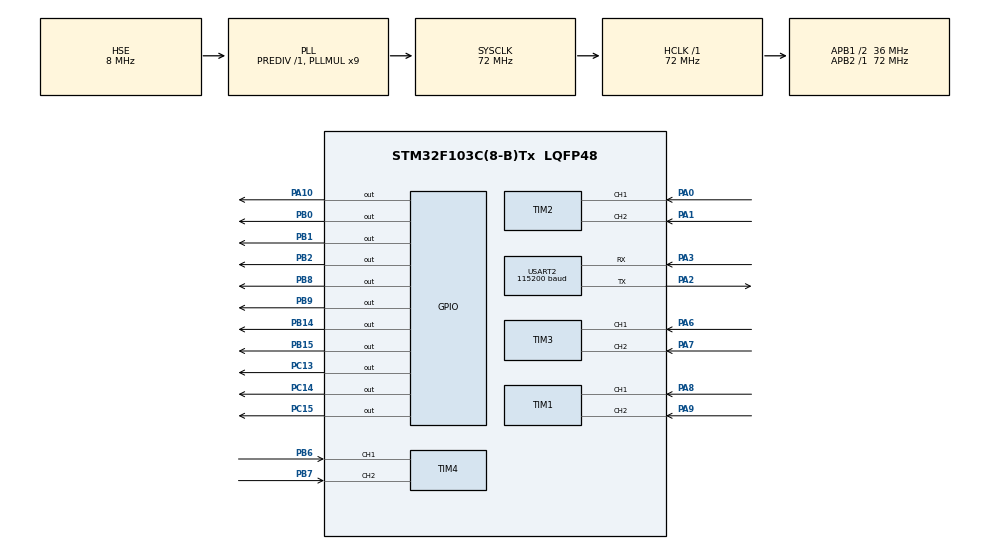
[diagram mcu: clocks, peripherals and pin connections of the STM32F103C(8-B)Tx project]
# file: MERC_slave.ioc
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Dma.Request0=USART2_RX
Dma.USART2_RX.0.Direction=DMA_PERIPH_TO_MEMORY
Dma.USART2_RX.0.Instance=DMA1_Channel6
Dma.USART2_RX.0.MemDataAlignment=DMA_MDATAALIGN_BYTE
Dma.USART2_RX.0.MemInc=DMA_MINC_ENABLE
Dma.USART2_RX.0.Mode=DMA_NORMAL
Dma.USART2_RX.0.PeriphDataAlignment=DMA_PDATAALIGN_BYTE
Dma.USART2_RX.0.PeriphInc=DMA_PINC_DISABLE
Dma.USART2_RX.0.Priority=DMA_PRIORITY_LOW
IWDG.Reload=149
Mcu.Family=STM32F1
Mcu.Name=STM32F103C(8-B)Tx
Mcu.Package=LQFP48
NVIC.DMA1_Channel6_IRQn=true\:0\:0\:false\:false\:true\:false\:true
NVIC.PriorityGroup=NVIC_PRIORITYGROUP_4
NVIC.USART2_IRQn=true\:0\:0\:false\:false\:true\:true\:true
PA0-WKUP.Signal=S_TIM2_CH1_ETR
PA1.Signal=S_TIM2_CH2
PA10.Signal=GPIO_Output
PA13.Mode=Serial_Wire
PA13.Signal=SYS_JTMS-SWDIO
PA14.Mode=Serial_Wire
PA14.Signal=SYS_JTCK-SWCLK
PA2.Mode=Asynchronous
PA2.Signal=USART2_TX
PA3.Mode=Asynchronous
PA3.Signal=USART2_RX
PA6.Signal=S_TIM3_CH1
PA7.Signal=S_TIM3_CH2
PA8.Signal=S_TIM1_CH1
PA9.Signal=S_TIM1_CH2
PB0.Signal=GPIO_Output
PB1.Signal=GPIO_Output
PB14.Signal=GPIO_Output
PB15.Signal=GPIO_Output
PB2.Signal=GPIO_Output
PB6.Signal=S_TIM4_CH1
PB7.Signal=S_TIM4_CH2
PB8.Signal=GPIO_Output
PB9.Signal=GPIO_Output
PC13-TAMPER-RTC.Signal=GPIO_Output
PC14-OSC32_IN.Signal=GPIO_Output
PC15-OSC32_OUT.Signal=GPIO_Output
PD0-OSC_IN.Mode=HSE-External-Oscillator
PD0-OSC_IN.Signal=RCC_OSC_IN
PD1-OSC_OUT.Mode=HSE-External-Oscillator
PD1-OSC_OUT.Signal=RCC_OSC_OUT
ProjectManager.HeapSize=0x200
ProjectManager.StackSize=0x400
ProjectManager.TargetToolchain=STM32CubeIDE
RCC.AHBFreq_Value=72000000
RCC.APB1CLKDivider=RCC_HCLK_DIV2
RCC.APB1Freq_Value=36000000
RCC.APB1TimFreq_Value=72000000
RCC.APB2Freq_Value=72000000
RCC.APB2TimFreq_Value=72000000
RCC.HCLKFreq_Value=72000000
RCC.PLLMUL=RCC_PLL_MUL9
RCC.PLLSourceVirtual=RCC_PLLSOURCE_HSE
RCC.SYSCLKFreq_VALUE=72000000
RCC.SYSCLKSource=RCC_SYSCLKSOURCE_PLLCLK
RCC.USBFreq_Value=72000000
SH.S_TIM1_CH1.0=TIM1_CH1,Encoder_Interface
SH.S_TIM1_CH2.0=TIM1_CH2,Encoder_Interface
SH.S_TIM2_CH1_ETR.0=TIM2_CH1,Encoder_Interface
SH.S_TIM2_CH2.0=TIM2_CH2,Encoder_Interface
SH.S_TIM3_CH1.0=TIM3_CH1,Encoder_Interface
SH.S_TIM3_CH2.0=TIM3_CH2,Encoder_Interface
SH.S_TIM4_CH1.0=TIM4_CH1,Encoder_Interface
SH.S_TIM4_CH2.0=TIM4_CH2,Encoder_Interface
USART2.BaudRate=115200
USART2.VirtualMode=VM_ASYNC
VP_IWDG_VS_IWDG.Mode=IWDG_Activate
board=custom

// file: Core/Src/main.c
/* USER CODE BEGIN Header */
/**
  ******************************************************************************
  * @file           : main.c
  * @brief          : Main program body
  ******************************************************************************
  * @attention
  *
  * <h2><center>&copy; Copyright (c) 2024 STMicroelectronics.
  * All rights reserved.</center></h2>
  *
  * This software component is licensed by ST under BSD 3-Clause license,
  * the "License"; You may not use this file except in compliance with the
  * License. You may obtain a copy of the License at:
  *                        opensource.org/licenses/BSD-3-Clause
  *
  ******************************************************************************
  */
/* USER CODE END Header */
#include "main.h"

/* USER CODE BEGIN PM */
#define RX_CTRL_SIZE 2
#define TX_SPEED_SIZE 10

/* USER CODE END PM */

IWDG_HandleTypeDef hiwdg;

TIM_HandleTypeDef htim1;
TIM_HandleTypeDef htim2;
TIM_HandleTypeDef htim3;
TIM_HandleTypeDef htim4;

UART_HandleTypeDef huart2;
DMA_HandleTypeDef hdma_usart2_rx;

/* USER CODE BEGIN PV */

int16_t speed_1 = 0;
int16_t speed_2 = 0;
int16_t speed_3 = 0;
int16_t speed_4 = 0;

uint8_t txSpeedBuffer[TX_SPEED_SIZE] = {0};
uint8_t rxCtrlBuffer[RX_CTRL_SIZE] = {0};

extern uint8_t dir_1;
extern uint8_t dir_2;

speedStruct speedBuffer;

uint8_t indexBufferSlave = 0;
/* USER CODE END PV */

void SystemClock_Config(void);
static void MX_GPIO_Init(void);
static void MX_DMA_Init(void);
static void MX_TIM1_Init(void);
static void MX_TIM2_Init(void);
static void MX_TIM3_Init(void);
static void MX_TIM4_Init(void);
static void MX_USART2_UART_Init(void);
static void MX_IWDG_Init(void);
/* USER CODE BEGIN PFP */

void prepareBuffer(uint8_t* speedBuffer, uint8_t* txSpeedBuffer){
	*txSpeedBuffer = 0x55;
	txSpeedBuffer++;
	for(int i = 0; i < 8; i++){
		*txSpeedBuffer = *speedBuffer;
		txSpeedBuffer++;
		speedBuffer++;
	}
	*txSpeedBuffer = 0xAA;
}

void HAL_UARTEx_RxEventCallback(UART_HandleTypeDef *huart, uint16_t Size)
{
     HAL_UARTEx_ReceiveToIdle_DMA(&huart2, rxCtrlBuffer, RX_CTRL_SIZE);
     __HAL_DMA_DISABLE_IT(&hdma_usart2_rx, DMA_IT_HT);
     if(rxCtrlBuffer[0]==0xFF){
    	 ctrl_DirMotor(rxCtrlBuffer[1]);
    	 HAL_GPIO_WritePin(GPIOA, GPIO_PIN_10, SET); 		// set flag connected rx
    	 HAL_IWDG_Refresh(&hiwdg);
     }
     else{
    	 HAL_GPIO_WritePin(GPIOA, GPIO_PIN_10, RESET);		// clear flag connected rx
     }
}

/* USER CODE END PFP */

/* USER CODE BEGIN 0 */

int16_t read_Speed(TIM_HandleTypeDef *htim){
	static uint16_t preCnt_1 = 0;
	static uint16_t preCnt_2 = 0;
	static uint16_t preCnt_3 = 0;
	static uint16_t preCnt_4 = 0;
	int16_t speed = 0;

	if(htim->Instance == htim1.Instance){
		uint16_t cnt_1 = __HAL_TIM_GET_COUNTER(&htim1);
		speed = (cnt_1 - preCnt_1)*4.2;
		preCnt_1 = cnt_1;
		return speed;
	}
	else if(htim->Instance == htim2.Instance){
		uint16_t cnt_2 = __HAL_TIM_GET_COUNTER(&htim2);
		speed = (cnt_2 - preCnt_2)*4.2;
		preCnt_2 = cnt_2;
		return speed;
	}
	else if(htim->Instance == htim3.Instance){
		uint16_t cnt_3 = __HAL_TIM_GET_COUNTER(&htim3);
		speed = (cnt_3 - preCnt_3)*4.2;
		preCnt_3 = cnt_3;
		return speed;
	}
	else if(htim->Instance == htim4.Instance){
		uint16_t cnt_4 = __HAL_TIM_GET_COUNTER(&htim4);
		speed = (cnt_4 - preCnt_4)*4.2;
		preCnt_4 = cnt_4;
		return speed;
	}
}

/* USER CODE END 0 */

int main(void)
{

  /* MCU Configuration--------------------------------------------------------*/

  /* Reset of all peripherals, Initializes the Flash interface and the Systick. */
  HAL_Init();

  /* Configure the system clock */
  SystemClock_Config();

  /* Initialize all configured peripherals */
  MX_GPIO_Init();
  MX_DMA_Init();
  MX_TIM1_Init();
  MX_TIM2_Init();
  MX_TIM3_Init();
  MX_TIM4_Init();
  MX_USART2_UART_Init();
  MX_IWDG_Init();
  /* USER CODE BEGIN 2 */
  HAL_UARTEx_ReceiveToIdle_DMA(&huart2, rxCtrlBuffer, RX_CTRL_SIZE);
  __HAL_DMA_DISABLE_IT(&hdma_usart2_rx, DMA_IT_HT);

  HAL_TIM_Encoder_Start(&htim1, TIM_CHANNEL_1|TIM_CHANNEL_2);
  HAL_TIM_Encoder_Start(&htim2, TIM_CHANNEL_1|TIM_CHANNEL_2);
  HAL_TIM_Encoder_Start(&htim3, TIM_CHANNEL_1|TIM_CHANNEL_2);
  HAL_TIM_Encoder_Start(&htim4, TIM_CHANNEL_1|TIM_CHANNEL_2);

  /* USER CODE END 2 */

  /* Infinite loop */
  while (1)
  {

    /* USER CODE BEGIN 3 */
	  speedBuffer.speed_1 = read_Speed(&htim1);
	  speedBuffer.speed_2 = read_Speed(&htim2);
	  speedBuffer.speed_3 = read_Speed(&htim3);
	  speedBuffer.speed_4 = read_Speed(&htim4);
	  HAL_Delay(10);

	  prepareBuffer(&speedBuffer, &txSpeedBuffer);

	  if (HAL_UART_Transmit(&huart2, txSpeedBuffer, TX_SPEED_SIZE, 10) != HAL_OK)
	  {
		  HAL_GPIO_WritePin(GPIOC, GPIO_PIN_13, RESET);
	  }
  }
  /* USER CODE END 3 */
}

void SystemClock_Config(void)
{
  RCC_OscInitTypeDef RCC_OscInitStruct = {0};
  RCC_ClkInitTypeDef RCC_ClkInitStruct = {0};

  /** Initializes the RCC Oscillators according to the specified parameters
  * in the RCC_OscInitTypeDef structure.
  */
  RCC_OscInitStruct.OscillatorType = RCC_OSCILLATORTYPE_LSI|RCC_OSCILLATORTYPE_HSE;
  RCC_OscInitStruct.HSEState = RCC_HSE_ON;
  RCC_OscInitStruct.HSEPredivValue = RCC_HSE_PREDIV_DIV1;
  RCC_OscInitStruct.HSIState = RCC_HSI_ON;
  RCC_OscInitStruct.LSIState = RCC_LSI_ON;
  RCC_OscInitStruct.PLL.PLLState = RCC_PLL_ON;
  RCC_OscInitStruct.PLL.PLLSource = RCC_PLLSOURCE_HSE;
  RCC_OscInitStruct.PLL.PLLMUL = RCC_PLL_MUL9;
  if (HAL_RCC_OscConfig(&RCC_OscInitStruct) != HAL_OK)
  {
    Error_Handler();
  }
  /** Initializes the CPU, AHB and APB buses clocks
  */
  RCC_ClkInitStruct.ClockType = RCC_CLOCKTYPE_HCLK|RCC_CLOCKTYPE_SYSCLK
                              |RCC_CLOCKTYPE_PCLK1|RCC_CLOCKTYPE_PCLK2;
  RCC_ClkInitStruct.SYSCLKSource = RCC_SYSCLKSOURCE_PLLCLK;
  RCC_ClkInitStruct.AHBCLKDivider = RCC_SYSCLK_DIV1;
  RCC_ClkInitStruct.APB1CLKDivider = RCC_HCLK_DIV2;
  RCC_ClkInitStruct.APB2CLKDivider = RCC_HCLK_DIV1;

  if (HAL_RCC_ClockConfig(&RCC_ClkInitStruct, FLASH_LATENCY_2) != HAL_OK)
  {
    Error_Handler();
  }
}

static void MX_IWDG_Init(void)
{

  hiwdg.Instance = IWDG;
  hiwdg.Init.Prescaler = IWDG_PRESCALER_4;
  hiwdg.Init.Reload = 149;
  if (HAL_IWDG_Init(&hiwdg) != HAL_OK)
  {
    Error_Handler();
  }

}

static void MX_TIM1_Init(void)
{

  TIM_Encoder_InitTypeDef sConfig = {0};
  TIM_MasterConfigTypeDef sMasterConfig = {0};

  htim1.Instance = TIM1;
  htim1.Init.Prescaler = 0;
  htim1.Init.CounterMode = TIM_COUNTERMODE_UP;
  htim1.Init.Period = 65535;
  htim1.Init.ClockDivision = TIM_CLOCKDIVISION_DIV1;
  htim1.Init.RepetitionCounter = 0;
  htim1.Init.AutoReloadPreload = TIM_AUTORELOAD_PRELOAD_DISABLE;
  sConfig.EncoderMode = TIM_ENCODERMODE_TI1;
  sConfig.IC1Polarity = TIM_ICPOLARITY_RISING;
  sConfig.IC1Selection = TIM_ICSELECTION_DIRECTTI;
  sConfig.IC1Prescaler = TIM_ICPSC_DIV1;
  sConfig.IC1Filter = 0;
  sConfig.IC2Polarity = TIM_ICPOLARITY_RISING;
  sConfig.IC2Selection = TIM_ICSELECTION_DIRECTTI;
  sConfig.IC2Prescaler = TIM_ICPSC_DIV1;
  sConfig.IC2Filter = 0;
  if (HAL_TIM_Encoder_Init(&htim1, &sConfig) != HAL_OK)
  {
    Error_Handler();
  }
  sMasterConfig.MasterOutputTrigger = TIM_TRGO_RESET;
  sMasterConfig.MasterSlaveMode = TIM_MASTERSLAVEMODE_DISABLE;
  if (HAL_TIMEx_MasterConfigSynchronization(&htim1, &sMasterConfig) != HAL_OK)
  {
    Error_Handler();
  }

}

static void MX_TIM2_Init(void)
{

  TIM_Encoder_InitTypeDef sConfig = {0};
  TIM_MasterConfigTypeDef sMasterConfig = {0};

  htim2.Instance = TIM2;
  htim2.Init.Prescaler = 0;
  htim2.Init.CounterMode = TIM_COUNTERMODE_UP;
  htim2.Init.Period = 65535;
  htim2.Init.ClockDivision = TIM_CLOCKDIVISION_DIV1;
  htim2.Init.AutoReloadPreload = TIM_AUTORELOAD_PRELOAD_DISABLE;
  sConfig.EncoderMode = TIM_ENCODERMODE_TI1;
  sConfig.IC1Polarity = TIM_ICPOLARITY_RISING;
  sConfig.IC1Selection = TIM_ICSELECTION_DIRECTTI;
  sConfig.IC1Prescaler = TIM_ICPSC_DIV1;
  sConfig.IC1Filter = 0;
  sConfig.IC2Polarity = TIM_ICPOLARITY_RISING;
  sConfig.IC2Selection = TIM_ICSELECTION_DIRECTTI;
  sConfig.IC2Prescaler = TIM_ICPSC_DIV1;
  sConfig.IC2Filter = 0;
  if (HAL_TIM_Encoder_Init(&htim2, &sConfig) != HAL_OK)
  {
    Error_Handler();
  }
  sMasterConfig.MasterOutputTrigger = TIM_TRGO_RESET;
  sMasterConfig.MasterSlaveMode = TIM_MASTERSLAVEMODE_DISABLE;
  if (HAL_TIMEx_MasterConfigSynchronization(&htim2, &sMasterConfig) != HAL_OK)
  {
    Error_Handler();
  }

}

static void MX_TIM3_Init(void)
{

  TIM_Encoder_InitTypeDef sConfig = {0};
  TIM_MasterConfigTypeDef sMasterConfig = {0};

  htim3.Instance = TIM3;
  htim3.Init.Prescaler = 0;
  htim3.Init.CounterMode = TIM_COUNTERMODE_UP;
  htim3.Init.Period = 65535;
  htim3.Init.ClockDivision = TIM_CLOCKDIVISION_DIV1;
  htim3.Init.AutoReloadPreload = TIM_AUTORELOAD_PRELOAD_DISABLE;
  sConfig.EncoderMode = TIM_ENCODERMODE_TI1;
  sConfig.IC1Polarity = TIM_ICPOLARITY_RISING;
  sConfig.IC1Selection = TIM_ICSELECTION_DIRECTTI;
  sConfig.IC1Prescaler = TIM_ICPSC_DIV1;
  sConfig.IC1Filter = 0;
  sConfig.IC2Polarity = TIM_ICPOLARITY_RISING;
  sConfig.IC2Selection = TIM_ICSELECTION_DIRECTTI;
  sConfig.IC2Prescaler = TIM_ICPSC_DIV1;
  sConfig.IC2Filter = 0;
  if (HAL_TIM_Encoder_Init(&htim3, &sConfig) != HAL_OK)
  {
    Error_Handler();
  }
  sMasterConfig.MasterOutputTrigger = TIM_TRGO_RESET;
  sMasterConfig.MasterSlaveMode = TIM_MASTERSLAVEMODE_DISABLE;
  if (HAL_TIMEx_MasterConfigSynchronization(&htim3, &sMasterConfig) != HAL_OK)
  {
    Error_Handler();
  }

}

static void MX_TIM4_Init(void)
{

  TIM_Encoder_InitTypeDef sConfig = {0};
  TIM_MasterConfigTypeDef sMasterConfig = {0};

  htim4.Instance = TIM4;
  htim4.Init.Prescaler = 0;
  htim4.Init.CounterMode = TIM_COUNTERMODE_UP;
  htim4.Init.Period = 65535;
  htim4.Init.ClockDivision = TIM_CLOCKDIVISION_DIV1;
  htim4.Init.AutoReloadPreload = TIM_AUTORELOAD_PRELOAD_DISABLE;
  sConfig.EncoderMode = TIM_ENCODERMODE_TI1;
  sConfig.IC1Polarity = TIM_ICPOLARITY_RISING;
  sConfig.IC1Selection = TIM_ICSELECTION_DIRECTTI;
  sConfig.IC1Prescaler = TIM_ICPSC_DIV1;
  sConfig.IC1Filter = 0;
  sConfig.IC2Polarity = TIM_ICPOLARITY_RISING;
  sConfig.IC2Selection = TIM_ICSELECTION_DIRECTTI;
  sConfig.IC2Prescaler = TIM_ICPSC_DIV1;
  sConfig.IC2Filter = 0;
  if (HAL_TIM_Encoder_Init(&htim4, &sConfig) != HAL_OK)
  {
    Error_Handler();
  }
  sMasterConfig.MasterOutputTrigger = TIM_TRGO_RESET;
  sMasterConfig.MasterSlaveMode = TIM_MASTERSLAVEMODE_DISABLE;
  if (HAL_TIMEx_MasterConfigSynchronization(&htim4, &sMasterConfig) != HAL_OK)
  {
    Error_Handler();
  }

}

static void MX_USART2_UART_Init(void)
{

  huart2.Instance = USART2;
  huart2.Init.BaudRate = 115200;
  huart2.Init.WordLength = UART_WORDLENGTH_8B;
  huart2.Init.StopBits = UART_STOPBITS_1;
  huart2.Init.Parity = UART_PARITY_NONE;
  huart2.Init.Mode = UART_MODE_TX_RX;
  huart2.Init.HwFlowCtl = UART_HWCONTROL_NONE;
  huart2.Init.OverSampling = UART_OVERSAMPLING_16;
  if (HAL_UART_Init(&huart2) != HAL_OK)
  {
    Error_Handler();
  }

}

static void MX_DMA_Init(void)
{

  /* DMA controller clock enable */
  __HAL_RCC_DMA1_CLK_ENABLE();

  /* DMA interrupt init */
  /* DMA1_Channel6_IRQn interrupt configuration */
  HAL_NVIC_SetPriority(DMA1_Channel6_IRQn, 0, 0);
  HAL_NVIC_EnableIRQ(DMA1_Channel6_IRQn);

}

static void MX_GPIO_Init(void)
{
  GPIO_InitTypeDef GPIO_InitStruct = {0};

  /* GPIO Ports Clock Enable */
  __HAL_RCC_GPIOC_CLK_ENABLE();
  __HAL_RCC_GPIOD_CLK_ENABLE();
  __HAL_RCC_GPIOA_CLK_ENABLE();
  __HAL_RCC_GPIOB_CLK_ENABLE();

  /*Configure GPIO pin Output Level */
  HAL_GPIO_WritePin(GPIOC, GPIO_PIN_13|GPIO_PIN_14|GPIO_PIN_15, GPIO_PIN_RESET);

  /*Configure GPIO pin Output Level */
  HAL_GPIO_WritePin(GPIOB, GPIO_PIN_0|GPIO_PIN_1|GPIO_PIN_2|GPIO_PIN_14
                          |GPIO_PIN_15|GPIO_PIN_8|GPIO_PIN_9, GPIO_PIN_RESET);

  /*Configure GPIO pin Output Level */
  HAL_GPIO_WritePin(GPIOA, GPIO_PIN_10, GPIO_PIN_RESET);

  /*Configure GPIO pins : PC13 PC14 PC15 */
  GPIO_InitStruct.Pin = GPIO_PIN_13|GPIO_PIN_14|GPIO_PIN_15;
  GPIO_InitStruct.Mode = GPIO_MODE_OUTPUT_PP;
  GPIO_InitStruct.Pull = GPIO_NOPULL;
  GPIO_InitStruct.Speed = GPIO_SPEED_FREQ_LOW;
  HAL_GPIO_Init(GPIOC, &GPIO_InitStruct);

  /*Configure GPIO pins : PB0 PB1 PB2 PB14
                           PB15 PB8 PB9 */
  GPIO_InitStruct.Pin = GPIO_PIN_0|GPIO_PIN_1|GPIO_PIN_2|GPIO_PIN_14
                          |GPIO_PIN_15|GPIO_PIN_8|GPIO_PIN_9;
  GPIO_InitStruct.Mode = GPIO_MODE_OUTPUT_PP;
  GPIO_InitStruct.Pull = GPIO_NOPULL;
  GPIO_InitStruct.Speed = GPIO_SPEED_FREQ_LOW;
  HAL_GPIO_Init(GPIOB, &GPIO_InitStruct);

  /*Configure GPIO pin : PA10 */
  GPIO_InitStruct.Pin = GPIO_PIN_10;
  GPIO_InitStruct.Mode = GPIO_MODE_OUTPUT_PP;
  GPIO_InitStruct.Pull = GPIO_NOPULL;
  GPIO_InitStruct.Speed = GPIO_SPEED_FREQ_LOW;
  HAL_GPIO_Init(GPIOA, &GPIO_InitStruct);

}

void Error_Handler(void)
{
  __disable_irq();
  while (1)
  {
  }
}

/************************ (C) COPYRIGHT STMicroelectronics *****END OF FILE****/
